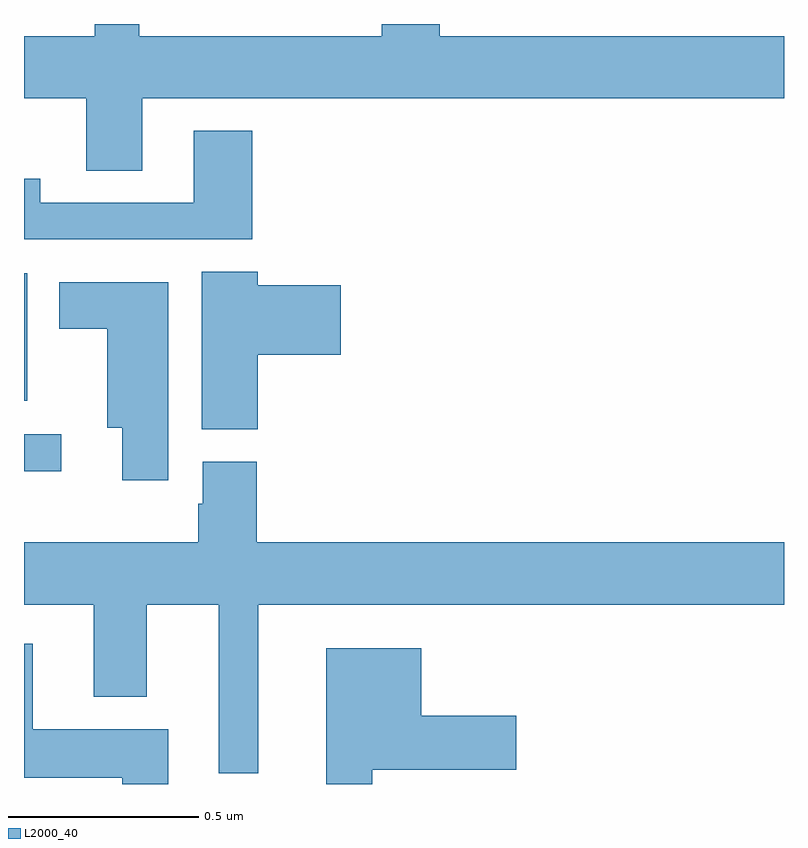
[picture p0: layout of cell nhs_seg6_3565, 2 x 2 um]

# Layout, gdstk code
import gdstk
lib = gdstk.Library(unit=1e-6, precision=1e-09)
def R(c, l, rs):  # rectangles x0, y0, x1, y1
    for r in rs: c.add(gdstk.rectangle(r[:2], r[2:], *l))
def P(c, l, *ps):  # polygons
    for p in ps: c.add(gdstk.Polygon(p, *l))
L2000_40 = (2000, 40)

nhs_seg6_3565 = lib.new_cell('nhs_seg6_3565')
R(nhs_seg6_3565, L2000_40, [(158,978.323,158.098,978.42), (158,978.509,158.008,978.844)])
P(nhs_seg6_3565, L2000_40, [(158.311,979.304),(160,979.304),(160,979.468),(159.094,979.468),(159.094,979.5),(158.942,979.5),(158.942,979.468),(158.303,979.468),(158.303,979.5),(158.186,979.5),(158.186,979.468),(158,979.468),(158,979.304),(158.164,979.304),(158.164,979.114),(158.311,979.114)],
  [(158.6,979.219),(158.447,979.219),(158.447,979.029),(158.043,979.029),(158.043,979.093),(158,979.093),(158,978.933),(158.6,978.933)],
  [(158.615,978.629),(158.833,978.629),(158.833,978.812),(158.615,978.812),(158.615,978.848),(158.468,978.848),(158.468,978.433),(158.615,978.433)],
  [(158.38,978.82),(158.093,978.82),(158.093,978.698),(158.219,978.698),(158.219,978.437),(158.258,978.437),(158.258,978.3),(158.38,978.3)],
  [(158.617,977.972),(160,977.972),(160,978.136),(158.612,978.136),(158.612,978.348),(158.471,978.348),(158.471,978.237),(158.459,978.237),(158.459,978.136),(158,978.136),(158,977.972),(158.183,977.972),(158.183,977.729),(158.323,977.729),(158.323,977.972),(158.513,977.972),(158.513,977.528),(158.617,977.528)],
  [(158.38,977.644),(158.023,977.644),(158.023,977.869),(158,977.869),(158,977.516),(158.258,977.516),(158.258,977.5),(158.38,977.5)],
  [(158.917,977.537),(159.295,977.537),(159.295,977.679),(159.046,977.679),(159.046,977.857),(158.795,977.857),(158.795,977.5),(158.917,977.5)])

lib.write_gds('nhs_seg6_3565.gds')
